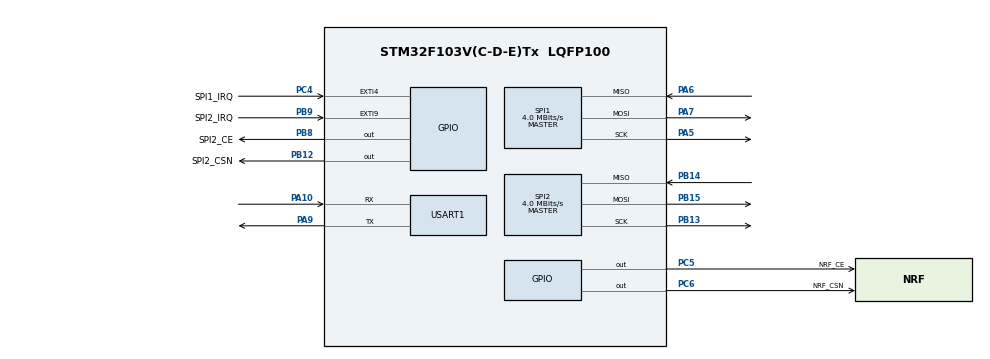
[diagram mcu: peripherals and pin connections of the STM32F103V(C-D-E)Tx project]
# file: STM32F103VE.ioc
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Dma.Request0=USART1_RX
Dma.Request1=USART1_TX
Dma.USART1_RX.0.Direction=DMA_PERIPH_TO_MEMORY
Dma.USART1_RX.0.Instance=DMA1_Channel5
Dma.USART1_RX.0.MemDataAlignment=DMA_MDATAALIGN_BYTE
Dma.USART1_RX.0.MemInc=DMA_MINC_ENABLE
Dma.USART1_RX.0.Mode=DMA_CIRCULAR
Dma.USART1_RX.0.PeriphDataAlignment=DMA_PDATAALIGN_BYTE
Dma.USART1_RX.0.PeriphInc=DMA_PINC_DISABLE
Dma.USART1_RX.0.Priority=DMA_PRIORITY_LOW
Dma.USART1_TX.1.Direction=DMA_MEMORY_TO_PERIPH
Dma.USART1_TX.1.Instance=DMA1_Channel4
Dma.USART1_TX.1.MemDataAlignment=DMA_MDATAALIGN_BYTE
Dma.USART1_TX.1.MemInc=DMA_MINC_ENABLE
Dma.USART1_TX.1.Mode=DMA_NORMAL
Dma.USART1_TX.1.PeriphDataAlignment=DMA_PDATAALIGN_BYTE
Dma.USART1_TX.1.PeriphInc=DMA_PINC_DISABLE
Dma.USART1_TX.1.Priority=DMA_PRIORITY_LOW
FREERTOS.Tasks01=defaultTask,0,128,StartDefaultTask,Default,NULL,Dynamic,NULL,NULL
FREERTOS.configTOTAL_HEAP_SIZE=61440
Mcu.Family=STM32F1
Mcu.Name=STM32F103V(C-D-E)Tx
Mcu.Package=LQFP100
NVIC.DMA1_Channel4_IRQn=true\:5\:0\:false\:false\:true\:true\:false\:true\:true
NVIC.DMA1_Channel5_IRQn=true\:5\:0\:false\:false\:true\:true\:false\:true\:true
NVIC.EXTI4_IRQn=true\:5\:0\:false\:false\:true\:true\:true\:true\:true
NVIC.EXTI9_5_IRQn=true\:5\:0\:false\:false\:true\:true\:true\:true\:true
NVIC.PriorityGroup=NVIC_PRIORITYGROUP_4
NVIC.USART1_IRQn=true\:5\:0\:false\:false\:true\:true\:true\:true\:true
PA10.Mode=Asynchronous
PA10.Signal=USART1_RX
PA5.Mode=Full_Duplex_Master
PA5.Signal=SPI1_SCK
PA6.Mode=Full_Duplex_Master
PA6.Signal=SPI1_MISO
PA7.Mode=Full_Duplex_Master
PA7.Signal=SPI1_MOSI
PA9.Mode=Asynchronous
PA9.Signal=USART1_TX
PB12.GPIO_Label=SPI2_CSN
PB12.Signal=GPIO_Output
PB13.Mode=Full_Duplex_Master
PB13.Signal=SPI2_SCK
PB14.Mode=Full_Duplex_Master
PB14.Signal=SPI2_MISO
PB15.Mode=Full_Duplex_Master
PB15.Signal=SPI2_MOSI
PB8.GPIO_Label=SPI2_CE
PB8.Signal=GPIO_Output
PB9.GPIO_Label=SPI2_IRQ
PB9.GPIO_ModeDefaultEXTI=GPIO_MODE_IT_FALLING
PB9.GPIO_PuPd=GPIO_PULLUP
PB9.Signal=GPXTI9
PC4.GPIO_Label=SPI1_IRQ
PC4.GPIO_ModeDefaultEXTI=GPIO_MODE_IT_FALLING
PC4.GPIO_PuPd=GPIO_PULLUP
PC4.Signal=GPXTI4
PC5.GPIO_Label=NRF_CE
PC5.Signal=GPIO_Output
PC6.GPIO_Label=NRF_CSN
PC6.Signal=GPIO_Output
ProjectManager.HeapSize=0x200
ProjectManager.StackSize=0x400
ProjectManager.TargetToolchain=MDK-ARM V5.32
RCC.APB1Freq_Value=8000000
RCC.APB2Freq_Value=8000000
SPI1.CalculateBaudRate=4.0 MBits/s
SPI1.Direction=SPI_DIRECTION_2LINES
SPI1.Mode=SPI_MODE_MASTER
SPI1.VirtualType=VM_MASTER
SPI2.CalculateBaudRate=4.0 MBits/s
SPI2.Direction=SPI_DIRECTION_2LINES
SPI2.Mode=SPI_MODE_MASTER
SPI2.VirtualType=VM_MASTER
USART1.VirtualMode=VM_ASYNC
VP_CRC_VS_CRC.Mode=CRC_Activate
VP_FREERTOS_VS_CMSIS_V1.Mode=CMSIS_V1
VP_SYS_VS_ND.Mode=No_Debug
board=custom

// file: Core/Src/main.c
/* USER CODE BEGIN Header */
/**
  ******************************************************************************
  * @file           : main.c
  * @brief          : Main program body
  ******************************************************************************
  * @attention
  *
  * Copyright (c) 2023 STMicroelectronics.
  * All rights reserved.
  *
  * This software is licensed under terms that can be found in the LICENSE file
  * in the root directory of this software component.
  * If no LICENSE file comes with this software, it is provided AS-IS.
  *
  ******************************************************************************
  */
/* USER CODE END Header */
#include "main.h"
#include "cmsis_os.h"
#include "crc.h"
#include "dma.h"
#include "spi.h"
#include "usart.h"
#include "gpio.h"

/* USER CODE BEGIN Includes */
#include "../common.h"
/* USER CODE END Includes */

void SystemClock_Config(void);
void MX_FREERTOS_Init(void);

int main(void)
{

  /* MCU Configuration--------------------------------------------------------*/

  /* Reset of all peripherals, Initializes the Flash interface and the Systick. */
  HAL_Init();

  /* Configure the system clock */
  SystemClock_Config();

  /* Initialize all configured peripherals */
  MX_GPIO_Init();
  MX_DMA_Init();
  MX_USART1_UART_Init();
  MX_SPI1_Init();
  MX_SPI2_Init();
  MX_CRC_Init();

  /* Call init function for freertos objects (in freertos.c) */
  MX_FREERTOS_Init();

  /* Start scheduler */
  osKernelStart();

  /* We should never get here as control is now taken by the scheduler */
  /* Infinite loop */
  while (1)
  {

  }
}

void SystemClock_Config(void)
{
  RCC_OscInitTypeDef RCC_OscInitStruct = {0};
  RCC_ClkInitTypeDef RCC_ClkInitStruct = {0};

  /** Initializes the RCC Oscillators according to the specified parameters
  * in the RCC_OscInitTypeDef structure.
  */
  RCC_OscInitStruct.OscillatorType = RCC_OSCILLATORTYPE_HSI;
  RCC_OscInitStruct.HSIState = RCC_HSI_ON;
  RCC_OscInitStruct.HSICalibrationValue = RCC_HSICALIBRATION_DEFAULT;
  RCC_OscInitStruct.PLL.PLLState = RCC_PLL_NONE;
  if (HAL_RCC_OscConfig(&RCC_OscInitStruct) != HAL_OK)
  {
    Error_Handler();
  }

  /** Initializes the CPU, AHB and APB buses clocks
  */
  RCC_ClkInitStruct.ClockType = RCC_CLOCKTYPE_HCLK|RCC_CLOCKTYPE_SYSCLK
                              |RCC_CLOCKTYPE_PCLK1|RCC_CLOCKTYPE_PCLK2;
  RCC_ClkInitStruct.SYSCLKSource = RCC_SYSCLKSOURCE_HSI;
  RCC_ClkInitStruct.AHBCLKDivider = RCC_SYSCLK_DIV1;
  RCC_ClkInitStruct.APB1CLKDivider = RCC_HCLK_DIV1;
  RCC_ClkInitStruct.APB2CLKDivider = RCC_HCLK_DIV1;

  if (HAL_RCC_ClockConfig(&RCC_ClkInitStruct, FLASH_LATENCY_0) != HAL_OK)
  {
    Error_Handler();
  }
}

void Error_Handler(void)
{
  __disable_irq();
  while (1)
  {
  }
}

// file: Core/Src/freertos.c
/* USER CODE BEGIN Header */
/**
  ******************************************************************************
  * File Name          : freertos.c
  * Description        : Code for freertos applications
  ******************************************************************************
  * @attention
  *
  * Copyright (c) 2023 STMicroelectronics.
  * All rights reserved.
  *
  * This software is licensed under terms that can be found in the LICENSE file
  * in the root directory of this software component.
  * If no LICENSE file comes with this software, it is provided AS-IS.
  *
  ******************************************************************************
  */
/* USER CODE END Header */

#include "FreeRTOS.h"
#include "task.h"
#include "main.h"
#include "cmsis_os.h"

/* USER CODE BEGIN Includes */
#include "../common.h"
/* USER CODE END Includes */

/* USER CODE BEGIN Variables */
osThreadId debug_Task_TaskHandle;//串口调试
osThreadId NRF_rxTaskHandle;//NRF

/* USER CODE END Variables */
osThreadId defaultTaskHandle;

/* USER CODE BEGIN FunctionPrototypes */
void debug_Task_TaskFun( void const *argument );//串口调试
void NRF_rxTaskFun( void const *argument );//nrf_rx
/* USER CODE END FunctionPrototypes */

void StartDefaultTask(void const * argument);

void MX_FREERTOS_Init(void); /* (MISRA C 2004 rule 8.1) */

/* GetIdleTaskMemory prototype (linked to static allocation support) */
void vApplicationGetIdleTaskMemory( StaticTask_t **ppxIdleTaskTCBBuffer, StackType_t **ppxIdleTaskStackBuffer, uint32_t *pulIdleTaskStackSize );

/* USER CODE BEGIN GET_IDLE_TASK_MEMORY */
static StaticTask_t xIdleTaskTCBBuffer;
static StackType_t xIdleStack[configMINIMAL_STACK_SIZE];

void vApplicationGetIdleTaskMemory( StaticTask_t **ppxIdleTaskTCBBuffer, StackType_t **ppxIdleTaskStackBuffer, uint32_t *pulIdleTaskStackSize )
{
  *ppxIdleTaskTCBBuffer = &xIdleTaskTCBBuffer;
  *ppxIdleTaskStackBuffer = &xIdleStack[0];
  *pulIdleTaskStackSize = configMINIMAL_STACK_SIZE;
  /* place for user code */
}
/* USER CODE END GET_IDLE_TASK_MEMORY */

void MX_FREERTOS_Init(void) {

  /* Create the thread(s) */
  /* definition and creation of defaultTask */
  osThreadDef(defaultTask, StartDefaultTask, osPriorityNormal, 0, 128);
  defaultTaskHandle = osThreadCreate(osThread(defaultTask), NULL);

  /* USER CODE BEGIN RTOS_THREADS */
  /* add threads, ... */
	//串口调试
	osThreadDef(debug_Task_Task, debug_Task_TaskFun, osPriorityNormal, 0, Debug_TaskSize);
  debug_Task_TaskHandle = osThreadCreate(osThread(debug_Task_Task), NULL);
	osThreadDef(NRF_rxTask, NRF_rxTaskFun, osPriorityNormal, 0, NRF_rxTaskSize);
  NRF_rxTaskHandle = osThreadCreate(osThread(NRF_rxTask), NULL);

  /* USER CODE END RTOS_THREADS */

}

void StartDefaultTask(void const * argument)
{
  /* USER CODE BEGIN StartDefaultTask */
  /* Infinite loop */

	//串口初始化
	debug_init();
	nrf_init();

  //vTaskDelete( defaultTaskHandle );
	while( 1 ) {
		vTaskDelay(3000);
		nrf2_send_data();
	}

  /* USER CODE END StartDefaultTask */
}

/* USER CODE BEGIN Application */

/*----- Debug串口接收处理任务 start ----------------------------------------*/
void debug_Task_TaskFun ( void const * argument ) {
	uint32_t newBits, oldBits = 0;
  for ( ; ; ) {
		xTaskNotifyWait( pdFALSE, portMAX_DELAY, &newBits, portMAX_DELAY );
		oldBits |= newBits;
		if ( oldBits & (1U<<DEBUG_PARSE_DATA) ) {//解析串口
			oldBits &=~ (1U<<DEBUG_PARSE_DATA);
			debug_parse_data_fun();
		}
  }
}
/*----- Debug串口接收处理任务 end ----------------------------------------*/

/*----- nrf24 start ----------------------------------------*/
void NRF_rxTaskFun ( void const * argument ) {
	uint32_t newBits, oldBits = 0;
  for ( ; ; ) {
		xTaskNotifyWait( pdFALSE, portMAX_DELAY, &newBits, portMAX_DELAY );
		oldBits |= newBits;
		if ( oldBits & (1U<<NRF_RX_EVENT) ) {
			oldBits &=~ (1U<<NRF_RX_EVENT);
			nrf1_receive_data();
		}
  }
}
/*----- nrf24 end ----------------------------------------*/

/* USER CODE END Application */
